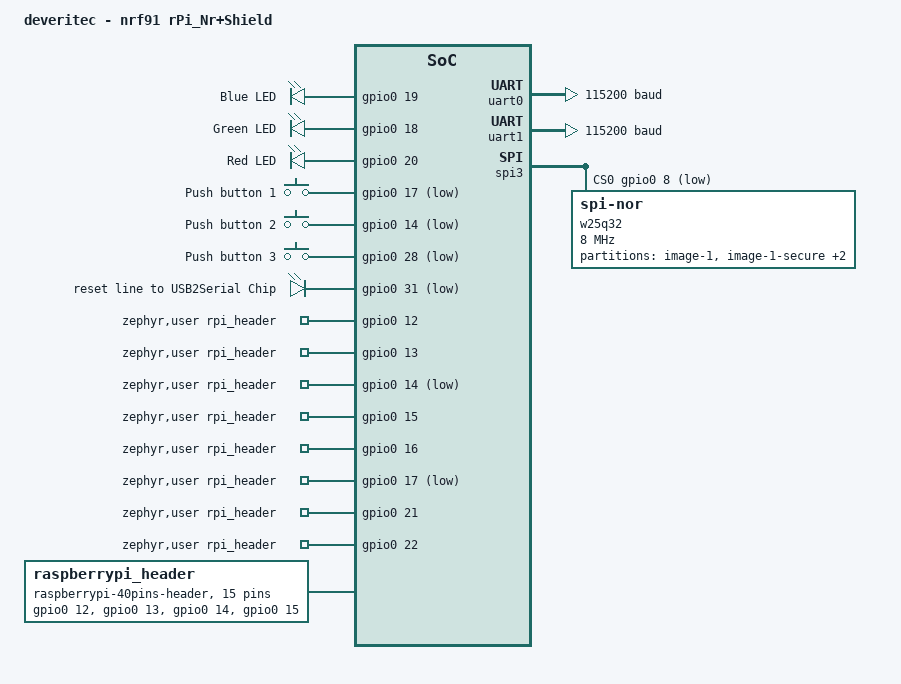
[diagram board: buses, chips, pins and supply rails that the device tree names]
/*
 * Copyright (c) 2026 Deveritec GmbH
 * SPDX-License-Identifier: Apache-2.0
 *
 * Common board description for dectnrpi_nds. Included by the secure and the
 * non-secure board DTS after the SoC base DTSI (nrf9151_laca / nrf91_ns).
 */

#include <zephyr/dt-bindings/input/input-event-codes.h>
#include "dectnrpi_nds_pinctrl.dtsi"
#include "dectnrpi_nds_partitioning.dtsi"

/ {
	model = "deveritec - nrf91 rPi_Nr+Shield";
	compatible = "deveritec,deveritec-rpishield";

	chosen {
		zephyr,console = &uart0;
		zephyr,shell-uart = &uart0;
		zephyr,cdc-acm-uart = &uart0;
		nordic,pm-ext-flash = &w25q32;
	};

	leds {
		compatible = "gpio-leds";
		led0: led0 {
			gpios = <&gpio0 19 GPIO_ACTIVE_HIGH>;
			label = "Blue LED";
		};
		led1: led1 {
			gpios = <&gpio0 18 GPIO_ACTIVE_HIGH>;
			label = "Green LED";
		};
		led2: led2 {
			gpios = <&gpio0 20 GPIO_ACTIVE_HIGH>;
			label = "Red LED";
		};
	};

	buttons {
		compatible = "gpio-keys";
		button1: button1 {
			gpios = <&gpio0 17 (GPIO_PULL_UP | GPIO_ACTIVE_LOW)>;
			label = "Push button 1";
			zephyr,code = <INPUT_KEY_0>;
		};
		button2: button2 {
			gpios = <&gpio0 14 (GPIO_PULL_UP | GPIO_ACTIVE_LOW)>;
			label = "Push button 2";
			zephyr,code = <INPUT_KEY_1>;
		};
		button3: button3 {
			gpios = <&gpio0 28 (GPIO_PULL_UP | GPIO_ACTIVE_LOW)>;
			label = "Push button 3";
			zephyr,code = <INPUT_KEY_2>;
		};
	};

	longpress {
		compatible = "zephyr,input-longpress";
		input-codes = <INPUT_KEY_0>, <INPUT_KEY_1>, <INPUT_KEY_2>;
		short-codes = <INPUT_KEY_A>, <INPUT_KEY_B>, <INPUT_KEY_C>;
		long-codes = <INPUT_KEY_X>, <INPUT_KEY_Y>, <INPUT_KEY_Z>;
		long-delay-ms = <1000>;
	};

	control_gpios {
		compatible = "gpio-leds";

		/* FTDI is replaced with Infineon (Cypress) USB2SERIAL */
		usb_reset: usb_reset {
			gpios = <&gpio0 31 GPIO_ACTIVE_LOW>;
			label = "reset line to USB2Serial Chip";
		};

	};

	zephyr,user {
		/* Used in hardware-test to iterate over all gpio pins. */
		rpi_header_gpios = <
			&gpio0 12 GPIO_ACTIVE_HIGH /* PI_UART_RX  */
			&gpio0 13 GPIO_ACTIVE_HIGH /* PI_UART_TX  */
			&gpio0 14 GPIO_ACTIVE_LOW  /* Button 2    */
			&gpio0 15 GPIO_ACTIVE_HIGH /* PI_UART_RTS */
			&gpio0 16 GPIO_ACTIVE_HIGH /* PI_UART_CTS */
			&gpio0 17 GPIO_ACTIVE_LOW  /* Button 1    */
			&gpio0 21 GPIO_ACTIVE_HIGH /* PI_SPI_MOSI */
			&gpio0 22 GPIO_ACTIVE_HIGH /* PI_SPI_MISO */
			&gpio0 23 GPIO_ACTIVE_HIGH /* PI_SPI_CLK  */
			&gpio0 24 GPIO_ACTIVE_HIGH /* PI_SPI_CS   */
			&gpio0 26 GPIO_ACTIVE_HIGH /* PI_GPIO22   */
			&gpio0 27 GPIO_ACTIVE_HIGH /* PI_GPIO27   */
			&gpio0 28 GPIO_ACTIVE_LOW  /* Button 3    */
			&gpio0 29 GPIO_ACTIVE_HIGH /* PI_I2C_SDA  */
			&gpio0 30 GPIO_ACTIVE_HIGH /* PI_I2C_SCL  */
		>;
	};

	/*
	 * Map Raspberry Pi header pin numbers to nRF GPIOs. Zephyr resolves
	 * '<&raspberrypi_header pin flags>' to '<&gpio0 actual_pin flags>'.
	 * raspberrypi_header.gpio-map cannot be used directly for this (nexus map
	 * with different lengths is not supported yet).
	 */
	raspberrypi_header: raspberrypi_header {
		compatible = "raspberrypi-40pins-header";
		#gpio-cells = <2>;
		gpio-map-mask = <0xffffffff 0xffffffc0>;
		gpio-map-pass-thru = <0 0x3f>;
		gpio-map =
			< 10 0 &gpio0 12 0 >, /* PI_UART_RX  PIN 10 */
			< 8  0 &gpio0 13 0 >, /* PI_UART_TX  PIN 8  */
			< 29 0 &gpio0 14 0 >, /* Button 2    PIN 29 */
			< 11 0 &gpio0 15 0 >, /* PI_UART_RTS PIN 11 */
			< 36 0 &gpio0 16 0 >, /* PI_UART_CTS PIN 36 */
			< 27 0 &gpio0 17 0 >, /* Button 1    PIN 27 */
			< 19 0 &gpio0 21 0 >, /* PI_SPI_MOSI PIN 19 */
			< 21 0 &gpio0 22 0 >, /* PI_SPI_MISO PIN 21 */
			< 23 0 &gpio0 23 0 >, /* PI_SPI_CLK  PIN 23 */
			< 24 0 &gpio0 24 0 >, /* PI_SPI_CS   PIN 24 */
			< 15 0 &gpio0 26 0 >, /* PI_GPIO22   PIN 15 */
			< 13 0 &gpio0 27 0 >, /* PI_GPIO27   PIN 13 */
			< 31 0 &gpio0 28 0 >, /* Button 3    PIN 31 */
			< 3  0 &gpio0 29 0 >, /* PI_I2C_SDA  PIN 3  */
			< 5  0 &gpio0 30 0 >; /* PI_I2C_SCL  PIN 5  */
	};

	aliases {
		led0 = &led0;
		led1 = &led1;
		led2 = &led2;
		sw0 = &button1;
		sw1 = &button2;
		sw2 = &button3;
		mcuboot-button0 = &button1;
		mcuboot-led0 = &led0;
		watchdog0 = &wdt0;
	};
};

&gpio0 {
	status = "okay";
};

&gpiote {
	status = "okay";
};

/* USB-to-serial bridge, channel A: console / shell */
&uart0 {
	status = "okay";
	current-speed = <115200>;
	pinctrl-0 = <&uart0_channel_a_default>;
	pinctrl-1 = <&uart0_channel_a_sleep>;
	pinctrl-names = "default", "sleep";
};

/* USB-to-serial bridge, channel B (disabled in the non-secure build, see _ns.dts) */
&uart1 {
	status = "okay";
	current-speed = <115200>;
	pinctrl-0 = <&uart1_channel_b_default>;
	pinctrl-1 = <&uart1_channel_b_sleep>;
	pinctrl-names = "default", "sleep";
};

/* External SPI NOR flash W25Q32 (32 MiB) */
&spi3 {
	status = "okay";
	pinctrl-0 = <&spi3_default>;
	pinctrl-1 = <&spi3_sleep>;
	pinctrl-names = "default", "sleep";
	cs-gpios = <&gpio0 8 GPIO_ACTIVE_LOW>;

	w25q32: w25q32@0 {
		compatible = "jedec,spi-nor";
		reg = <0>;
		spi-max-frequency = <DT_FREQ_M(8)>;
		jedec-id = [ef 40 16];
		size = <33554432>;
		has-dpd;
		t-enter-dpd = <3000>;
		t-exit-dpd = <40000>;
		status = "okay";

		partitions {
			compatible = "fixed-partitions";
			#address-cells = <1>;
			#size-cells = <1>;

			/* Must match the internal slot sizes (0xe8000 each) */
			slot1_partition: partition@8c000 {
				compatible = "fixed-subpartitions";
				label = "image-1";
				reg = <0x0008c000 0x000e8000>;
				ranges = <0x0 0x0008c000 0x000e8000>;
				#address-cells = <1>;
				#size-cells = <1>;

				slot1_s_partition: partition@0 {
					label = "image-1-secure";
					reg = <0x00000000 0x00028000>;
				};

				slot1_ns_partition: partition@28000 {
					label = "image-1-nonsecure";
					reg = <0x00028000 0x000c0000>;
				};
			};

			external_flash_partition: partition@174000 {
				label = "external_flash";
				reg = <0x00174000 0x00400000>;
			};
		};
	};
};

/*
 * Raspberry Pi header SPI. The nRF acts as SPI slave (SPIS). Mutually
 * exclusive with uart1_pi and spi0 on the Pi header (shared pins P0.21-P0.24).
 */
&spi1 {
	status = "disabled";
	compatible = "nordic,nrf-spis";
	pinctrl-0 = <&spis_pi_default>;
	pinctrl-1 = <&spis_pi_sleep>;
	pinctrl-names = "default", "sleep";
	def-char = <0x00>;

	gendev: gendev@0 {
		compatible = "vnd,spi-device";
		reg = <0>;
		spi-max-frequency = <DT_FREQ_M(8)>;
	};
};

&spi0 {
	status = "disabled";
};

&spi2 {
	status = "disabled";
};

&uart3 {
	status = "disabled";
};

&i2c3 {
	status = "disabled";
};
